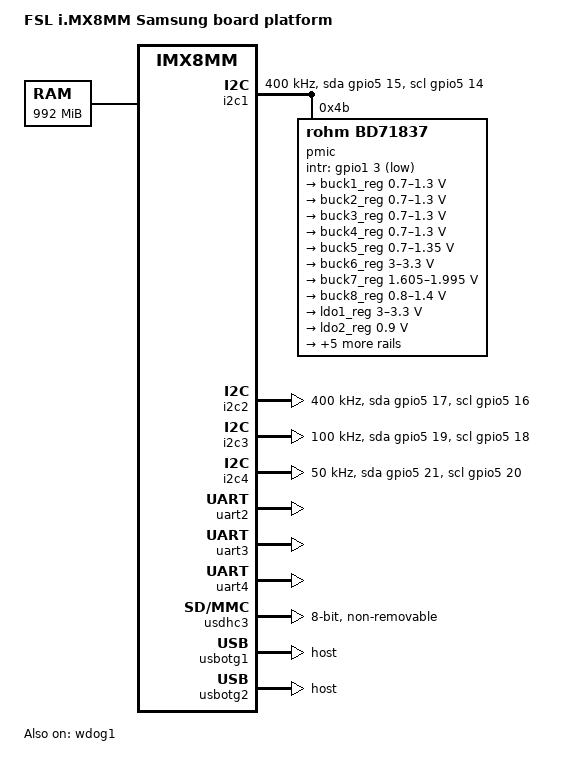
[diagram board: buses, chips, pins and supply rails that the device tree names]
/*
 * Copyright 2019 NXP
 *
 * This program is free software; you can redistribute it and/or
 * modify it under the terms of the GNU General Public License
 * as published by the Free Software Foundation; either version 2
 * of the License, or (at your option) any later version.
 *
 * This program is distributed in the hope that it will be useful,
 * but WITHOUT ANY WARRANTY; without even the implied warranty of
 * MERCHANTABILITY or FITNESS FOR A PARTICULAR PURPOSE.  See the
 * GNU General Public License for more details.
 */

/dts-v1/;

#include "fsl-imx8mm.dtsi"

/ {
	model = "FSL i.MX8MM Samsung board platform";
	compatible = "fsl,imx8mm-sbp", "fsl,imx8mm";

	aliases {
		mmc0 = &usdhc3;
	};

	chosen {
		bootargs = "console=ttymxc1,115200 earlycon=ec_imx6q,0x30890000,115200";
		stdout-path = &uart2;
	};

	memory@40000000 {
		device_type = "memory";
		reg = <0x0 0x40000000 0 0x3e000000>;
	};
};

/delete-node/ &rpmsg_reserved; /* delete node from fsl-imx8mm.dtsi */
&{/reserved-memory} {
	rpmsg_reserved: rpmsg@0x78000000 {
		no-map;
		reg = <0 0x78000000 0 0x00400000>;
	};
};

&iomuxc {
	pinctrl-names = "default";

	imx8mm-sbp {
		pinctrl_i2c1: i2c1grp {
			fsl,pins = <
				MX8MM_IOMUXC_I2C1_SCL_I2C1_SCL			0x400001c3
				MX8MM_IOMUXC_I2C1_SDA_I2C1_SDA			0x400001c3
			>;
		};

		pinctrl_i2c2: i2c2grp {
			fsl,pins = <
				MX8MM_IOMUXC_I2C2_SCL_I2C2_SCL			0x400001c3
				MX8MM_IOMUXC_I2C2_SDA_I2C2_SDA			0x400001c3
			>;
		};

		pinctrl_i2c3: i2c3grp {
			fsl,pins = <
				MX8MM_IOMUXC_I2C3_SCL_I2C3_SCL			0x400001c3
				MX8MM_IOMUXC_I2C3_SDA_I2C3_SDA			0x400001c3
			>;
		};

		pinctrl_i2c4: i2c4grp {
			fsl,pins = <
				MX8MM_IOMUXC_I2C4_SCL_I2C4_SCL			0x400001c3
				MX8MM_IOMUXC_I2C4_SDA_I2C4_SDA			0x400001c3
			>;
		};

		pinctrl_i2c1_gpio: i2c1grp-gpio {
			fsl,pins = <
				MX8MM_IOMUXC_I2C1_SCL_GPIO5_IO14        	0x1c3
				MX8MM_IOMUXC_I2C1_SDA_GPIO5_IO15        	0x1c3
			>;
		};

		pinctrl_i2c2_gpio: i2c2grp-gpio {
			fsl,pins = <
				MX8MM_IOMUXC_I2C2_SCL_GPIO5_IO16        	0x1c3
				MX8MM_IOMUXC_I2C2_SDA_GPIO5_IO17        	0x1c3
			>;
		};

		pinctrl_i2c3_gpio: i2c3grp-gpio {
			fsl,pins = <
				MX8MM_IOMUXC_I2C3_SCL_GPIO5_IO18        	0x1c3
				MX8MM_IOMUXC_I2C3_SDA_GPIO5_IO19        	0x1c3
			>;
		};

		pinctrl_i2c4_gpio: i2c4grp-gpio {
			fsl,pins = <
				MX8MM_IOMUXC_I2C4_SCL_GPIO5_IO20        	0x1c3
				MX8MM_IOMUXC_I2C4_SDA_GPIO5_IO21        	0x1c3
			>;
		};

		pinctrl_pmic: pmicirq {
			fsl,pins = <
				MX8MM_IOMUXC_GPIO1_IO03_GPIO1_IO3 	0x41
			>;
		};

		pinctrl_uart1: uart1grp {
			fsl,pins = <
				MX8MM_IOMUXC_UART1_RXD_UART1_DCE_RX	0x49
				MX8MM_IOMUXC_UART1_TXD_UART1_DCE_TX	0x49
			>;
		};

		pinctrl_uart2: uart2grp {
			fsl,pins = <
				MX8MM_IOMUXC_UART2_RXD_UART2_DCE_RX	0x49
				MX8MM_IOMUXC_UART2_TXD_UART2_DCE_TX	0x49
			>;
		};

		pinctrl_uart3: uart3grp {
			fsl,pins = <
				MX8MM_IOMUXC_UART3_RXD_UART3_DCE_RX	0x49
				MX8MM_IOMUXC_UART3_TXD_UART3_DCE_TX	0x49
			>;
		};

		pinctrl_uart4: uart4grp {
			fsl,pins = <
				MX8MM_IOMUXC_UART4_RXD_UART4_DCE_RX	0x49
				MX8MM_IOMUXC_UART4_TXD_UART4_DCE_TX	0x49
			>;
		};

		pinctrl_usdhc3_gpio: usdhc3grpgpio {
			fsl,pins = <
				MX8MM_IOMUXC_NAND_READY_B_GPIO3_IO16	0x41
			>;
		};

		pinctrl_usdhc3: usdhc3grp {
			fsl,pins = <
				MX8MM_IOMUXC_NAND_WE_B_USDHC3_CLK		0x40000190
				MX8MM_IOMUXC_NAND_WP_B_USDHC3_CMD		0x1d0
				MX8MM_IOMUXC_NAND_DATA04_USDHC3_DATA0		0x1d0
				MX8MM_IOMUXC_NAND_DATA05_USDHC3_DATA1		0x1d0
				MX8MM_IOMUXC_NAND_DATA06_USDHC3_DATA2		0x1d0
				MX8MM_IOMUXC_NAND_DATA07_USDHC3_DATA3		0x1d0
				MX8MM_IOMUXC_NAND_RE_B_USDHC3_DATA4		0x1d0
				MX8MM_IOMUXC_NAND_CE2_B_USDHC3_DATA5		0x1d0
				MX8MM_IOMUXC_NAND_CE3_B_USDHC3_DATA6		0x1d0
				MX8MM_IOMUXC_NAND_CLE_USDHC3_DATA7		0x1d0
				MX8MM_IOMUXC_NAND_CE1_B_USDHC3_STROBE 		0x190
			>;
		};

		pinctrl_usdhc3_100mhz: usdhc3grp100mhz {
			fsl,pins = <
				MX8MM_IOMUXC_NAND_WE_B_USDHC3_CLK		0x40000194
				MX8MM_IOMUXC_NAND_WP_B_USDHC3_CMD		0x1d4
				MX8MM_IOMUXC_NAND_DATA04_USDHC3_DATA0		0x1d4
				MX8MM_IOMUXC_NAND_DATA05_USDHC3_DATA1		0x1d4
				MX8MM_IOMUXC_NAND_DATA06_USDHC3_DATA2		0x1d4
				MX8MM_IOMUXC_NAND_DATA07_USDHC3_DATA3		0x1d4
				MX8MM_IOMUXC_NAND_RE_B_USDHC3_DATA4		0x1d4
				MX8MM_IOMUXC_NAND_CE2_B_USDHC3_DATA5		0x1d4
				MX8MM_IOMUXC_NAND_CE3_B_USDHC3_DATA6		0x1d4
				MX8MM_IOMUXC_NAND_CLE_USDHC3_DATA7		0x1d4
				MX8MM_IOMUXC_NAND_CE1_B_USDHC3_STROBE 		0x194
			>;
		};

		pinctrl_usdhc3_200mhz: usdhc3grp200mhz {
			fsl,pins = <
				MX8MM_IOMUXC_NAND_WE_B_USDHC3_CLK		0x40000196
				MX8MM_IOMUXC_NAND_WP_B_USDHC3_CMD		0x1d6
				MX8MM_IOMUXC_NAND_DATA04_USDHC3_DATA0		0x1d6
				MX8MM_IOMUXC_NAND_DATA05_USDHC3_DATA1		0x1d6
				MX8MM_IOMUXC_NAND_DATA06_USDHC3_DATA2		0x1d6
				MX8MM_IOMUXC_NAND_DATA07_USDHC3_DATA3		0x1d6
				MX8MM_IOMUXC_NAND_RE_B_USDHC3_DATA4		0x1d6
				MX8MM_IOMUXC_NAND_CE2_B_USDHC3_DATA5		0x1d6
				MX8MM_IOMUXC_NAND_CE3_B_USDHC3_DATA6		0x1d6
				MX8MM_IOMUXC_NAND_CLE_USDHC3_DATA7		0x1d6
				MX8MM_IOMUXC_NAND_CE1_B_USDHC3_STROBE 		0x196
			>;
		};

		pinctrl_wdog: wdoggrp {
			fsl,pins = <
				MX8MM_IOMUXC_GPIO1_IO02_WDOG1_WDOG_B		0xc6
			>;
		};

		pinctrl_eeprom_wp: eppromgrp {
			fsl,pins = <
				MX8MM_IOMUXC_GPIO1_IO01_GPIO1_IO1		0x41
			>;
		};
	};
};

&i2c1 {
	clock-frequency = <400000>;
	pinctrl-names = "default", "gpio";
	pinctrl-0 = <&pinctrl_i2c1>;
	pinctrl-1 = <&pinctrl_i2c1_gpio>;
	scl-gpios = <&gpio5 14 GPIO_ACTIVE_HIGH>;
	sda-gpios = <&gpio5 15 GPIO_ACTIVE_HIGH>;
	status = "okay";

	pmic: bd71837@4b {
		reg = <0x4b>;
		compatible = "rohm,bd71837";
		/* PMIC BD71837 PMIC_nINT GPIO1_IO3 */
		pinctrl-0 = <&pinctrl_pmic>;
		gpio_intr = <&gpio1 3 GPIO_ACTIVE_LOW>;

		gpo {
			rohm,drv = <0x0C>;	/* 0b0000_1100 all gpos with cmos output mode */
		};

		regulators {
			#address-cells = <1>;
			#size-cells = <0>;

			bd71837,pmic-buck2-uses-i2c-dvs;
			bd71837,pmic-buck2-dvs-voltage = <1000000>, <900000>, <0>; /* VDD_ARM: Run-Idle */

			buck1_reg: regulator@0 {
				reg = <0>;
				regulator-compatible = "buck1";
				regulator-min-microvolt = <700000>;
				regulator-max-microvolt = <1300000>;
				regulator-boot-on;
				regulator-always-on;
				regulator-ramp-delay = <1250>;
			};

			buck2_reg: regulator@1 {
				reg = <1>;
				regulator-compatible = "buck2";
				regulator-min-microvolt = <700000>;
				regulator-max-microvolt = <1300000>;
				regulator-boot-on;
				regulator-always-on;
				regulator-ramp-delay = <1250>;
			};

			buck3_reg: regulator@2 {
				reg = <2>;
				regulator-compatible = "buck3";
				regulator-min-microvolt = <700000>;
				regulator-max-microvolt = <1300000>;
			};

			buck4_reg: regulator@3 {
				reg = <3>;
				regulator-compatible = "buck4";
				regulator-min-microvolt = <700000>;
				regulator-max-microvolt = <1300000>;
			};

			buck5_reg: regulator@4 {
				reg = <4>;
				regulator-compatible = "buck5";
				regulator-min-microvolt = <700000>;
				regulator-max-microvolt = <1350000>;
				regulator-boot-on;
				regulator-always-on;
			};

			buck6_reg: regulator@5 {
				reg = <5>;
				regulator-compatible = "buck6";
				regulator-min-microvolt = <3000000>;
				regulator-max-microvolt = <3300000>;
				regulator-boot-on;
				regulator-always-on;
			};

			buck7_reg: regulator@6 {
				reg = <6>;
				regulator-compatible = "buck7";
				regulator-min-microvolt = <1605000>;
				regulator-max-microvolt = <1995000>;
				regulator-boot-on;
				regulator-always-on;
			};

			buck8_reg: regulator@7 {
				reg = <7>;
				regulator-compatible = "buck8";
				regulator-min-microvolt = <800000>;
				regulator-max-microvolt = <1400000>;
				regulator-boot-on;
				regulator-always-on;
			};

			ldo1_reg: regulator@8 {
				reg = <8>;
				regulator-compatible = "ldo1";
				regulator-min-microvolt = <3000000>;
				regulator-max-microvolt = <3300000>;
				regulator-boot-on;
				regulator-always-on;
			};

			ldo2_reg: regulator@9 {
				reg = <9>;
				regulator-compatible = "ldo2";
				regulator-min-microvolt = <900000>;
				regulator-max-microvolt = <900000>;
				regulator-boot-on;
				regulator-always-on;
			};

			ldo3_reg: regulator@10 {
				reg = <10>;
				regulator-compatible = "ldo3";
				regulator-min-microvolt = <1800000>;
				regulator-max-microvolt = <3300000>;
				regulator-boot-on;
				regulator-always-on;
			};

			ldo4_reg: regulator@11 {
				reg = <11>;
				regulator-compatible = "ldo4";
				regulator-min-microvolt = <900000>;
				regulator-max-microvolt = <1800000>;
				regulator-boot-on;
				regulator-always-on;
			};

			ldo5_reg: regulator@12 {
				reg = <12>;
				regulator-compatible = "ldo5";
				regulator-min-microvolt = <1800000>;
				regulator-max-microvolt = <3300000>;
			};

			ldo6_reg: regulator@13 {
				reg = <13>;
				regulator-compatible = "ldo6";
				regulator-min-microvolt = <900000>;
				regulator-max-microvolt = <1800000>;
				regulator-boot-on;
				regulator-always-on;
			};

			ldo7_reg: regulator@14 {
				reg = <14>;
				regulator-compatible = "ldo7";
				regulator-min-microvolt = <1800000>;
				regulator-max-microvolt = <3300000>;
			};
		};
	};
};

&i2c2 {
	clock-frequency = <400000>;
	pinctrl-names = "default", "gpio";
	pinctrl-0 = <&pinctrl_i2c2>;
	pinctrl-1 = <&pinctrl_i2c2_gpio>;
	scl-gpios = <&gpio5 16 GPIO_ACTIVE_HIGH>;
	sda-gpios = <&gpio5 17 GPIO_ACTIVE_HIGH>;
	status = "okay";
};

&i2c3 {
	clock-frequency = <100000>;
	pinctrl-names = "default", "gpio";
	pinctrl-0 = <&pinctrl_i2c3>;
	pinctrl-1 = <&pinctrl_i2c3_gpio>;
	scl-gpios = <&gpio5 18 GPIO_ACTIVE_HIGH>;
	sda-gpios = <&gpio5 19 GPIO_ACTIVE_HIGH>;
	status = "okay";
};

&i2c4 {
	clock-frequency = <50000>;
	pinctrl-names = "default", "gpio";
	pinctrl-0 = <&pinctrl_i2c4>;
	pinctrl-1 = <&pinctrl_i2c4_gpio>;
	scl-gpios = <&gpio5 20 GPIO_ACTIVE_HIGH>;
	sda-gpios = <&gpio5 21 GPIO_ACTIVE_HIGH>;
	status = "okay";
};

&uart2 { /* console */
	pinctrl-names = "default";
	pinctrl-0 = <&pinctrl_uart2>;
	status = "okay";
};

&uart3 { /* cec */
	pinctrl-names = "default";
	pinctrl-0 = <&pinctrl_uart3>;
	status = "okay";
};

&uart4 { /* audio framework debug */
	pinctrl-names = "default";
	pinctrl-0 = <&pinctrl_uart4>;
	status = "okay";
};

&usdhc3 {
	pinctrl-names = "default", "state_100mhz", "state_200mhz";
	pinctrl-0 = <&pinctrl_usdhc3>, <&pinctrl_usdhc3_gpio>;
	pinctrl-1 = <&pinctrl_usdhc3_100mhz>, <&pinctrl_usdhc3_gpio>;
	pinctrl-2 = <&pinctrl_usdhc3_200mhz>, <&pinctrl_usdhc3_gpio>;
	bus-width = <8>;
	non-removable;
	status = "okay";
};

&wdog1 {
	pinctrl-names = "default";
	pinctrl-0 = <&pinctrl_wdog>;
	fsl,ext-reset-output;
	status = "okay";
};

&cpu0 {
	arm-supply = <&buck2_reg>;
};

&usbotg1 {
	dr_mode = "host";
	status = "okay";
};

&usbotg2 {
	dr_mode = "host";
	status = "okay";
};


&gpt3 {
	status = "disabled";
};
